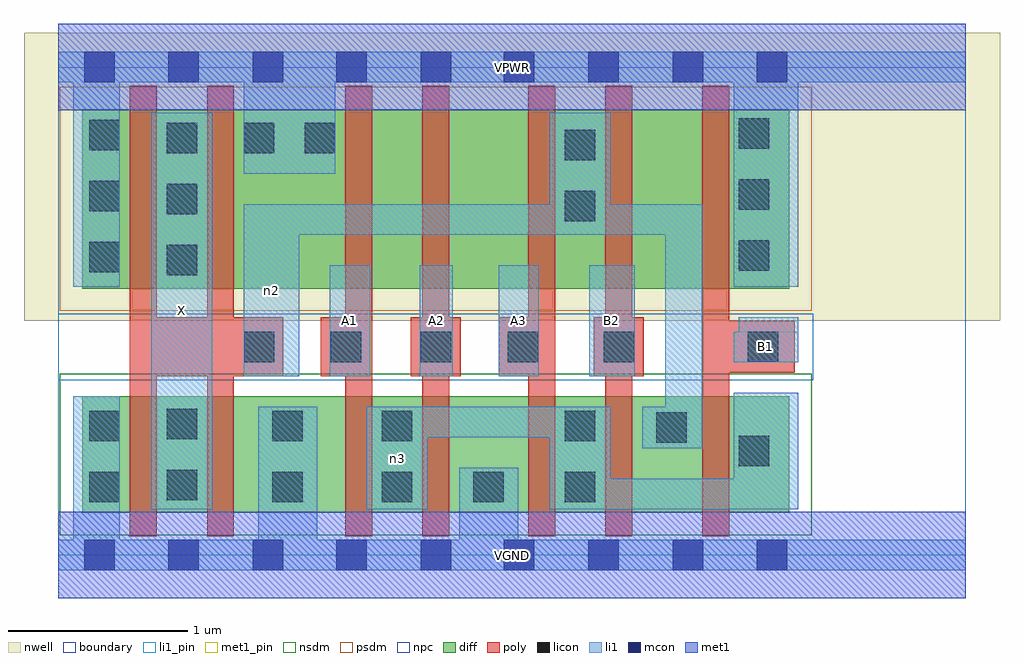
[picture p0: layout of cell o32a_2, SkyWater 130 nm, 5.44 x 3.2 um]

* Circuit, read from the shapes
.subckt o32a_2 A1 A2 A3 B1 B2 VGND VPWR X n2 n3
XM1 X n2 VGND VSUBS sky130_fd_pr__nfet_01v8 w=0.65 l=0.15 m=2
XM2 n3 A1 VGND VSUBS sky130_fd_pr__nfet_01v8 w=0.65 l=0.15
XM3 VGND A2 n3 VSUBS sky130_fd_pr__nfet_01v8 w=0.65 l=0.15
XM4 n3 A3 VGND VSUBS sky130_fd_pr__nfet_01v8 w=0.65 l=0.15
XM5 n2 B2 n3 VSUBS sky130_fd_pr__nfet_01v8 w=0.65 l=0.15
XM6 n3 B1 n2 VSUBS sky130_fd_pr__nfet_01v8 w=0.65 l=0.15
XM7 X n2 VPWR n1 sky130_fd_pr__pfet_01v8 w=1 l=0.15 m=2
XM8 n4 A1 VPWR n1 sky130_fd_pr__pfet_01v8 w=1 l=0.15
XM9 n5 A2 n4 n1 sky130_fd_pr__pfet_01v8 w=1 l=0.15
XM10 n2 A3 n5 n1 sky130_fd_pr__pfet_01v8 w=1 l=0.15
XM11 n6 B2 n2 n1 sky130_fd_pr__pfet_01v8 w=1 l=0.15
XM12 VPWR B1 n6 n1 sky130_fd_pr__pfet_01v8 w=1 l=0.15
.ends

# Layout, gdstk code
import gdstk
lib = gdstk.Library(unit=1e-6, precision=1e-09)
def R(c, l, rs):  # rectangles x0, y0, x1, y1
    for r in rs: c.add(gdstk.rectangle(r[:2], r[2:], *l))
def A(c, l, x, y, w, h, nx, ny, dx, dy):  # array of equal rectangles
    R(c, l, [(x+i*dx, y+j*dy, x+i*dx+w, y+j*dy+h) for i in range(nx) for j in range(ny)])
nwell = (64, 20)
diff = (65, 20)
poly = (66, 20)
licon = (66, 44)
li1_pin = (67, 16)
li1 = (67, 20)
mcon = (67, 44)
met1_pin = (68, 16)
met1 = (68, 20)
nsdm = (93, 44)
psdm = (94, 20)
npc = (95, 20)
boundary = (235, 4)

o32a_2 = lib.new_cell('o32a_2')
R(o32a_2, nwell, [(-0.19,1.305,5.25,2.91), (0,1.305,5.06,2.91)])
R(o32a_2, diff, [(0.135,0.235,4.075,0.885), (0.135,1.485,4.075,2.485)])
R(o32a_2, poly, [(0.4,0.105,0.55,2.615), (0.83,0.105,0.98,2.615), (1.6,0.105,1.75,2.615), (2.03,0.105,2.18,2.615), (2.62,0.105,2.77,2.615), (3.05,0.105,3.2,2.615), (3.59,0.105,3.74,2.615), (0.4,0.995,1.255,1.325), (1.465,0.995,1.75,1.325), (1.965,0.995,2.245,1.325), (2.455,0.995,2.77,1.325), (2.985,0.995,3.265,1.325), (3.59,1.015,4.105,1.305)])
A(o32a_2, licon, 1.805, 0.295, 0.17, 0.17, 3, 1, 0.51, 0)
A(o32a_2, licon, 0.605, 1.56, 0.17, 0.17, 1, 3, 0, 0.34)
A(o32a_2, licon, 0.175, 1.575, 0.17, 0.17, 1, 3, 0, 0.34)
A(o32a_2, licon, 3.795, 1.585, 0.17, 0.17, 1, 3, 0, 0.34)
R(o32a_2, licon, [(0.175,0.295,0.345,0.465), (1.195,0.295,1.365,0.465), (0.605,0.305,0.775,0.475), (3.795,0.495,3.965,0.665), (3.335,0.625,3.505,0.795), (0.175,0.635,0.345,0.805), (1.195,0.635,1.365,0.805), (1.805,0.635,1.975,0.805), (2.825,0.635,2.995,0.805), (0.605,0.645,0.775,0.815), (1.035,1.075,1.205,1.245), (1.52,1.075,1.69,1.245), (2.02,1.075,2.19,1.245), (2.505,1.075,2.675,1.245), (3.04,1.075,3.21,1.245), (3.845,1.075,4.015,1.245), (2.825,1.86,2.995,2.03), (2.825,2.2,2.995,2.37), (1.035,2.24,1.205,2.41), (1.375,2.24,1.545,2.41)])
R(o32a_2, li1_pin, [(0.52,0.255,0.86,2.465), (1.515,0.995,1.74,1.615), (2.015,0.995,2.2,1.615), (2.455,0.995,2.68,1.615), (2.96,0.995,3.215,1.615), (3.765,1.075,4.125,1.245)])
R(o32a_2, li1, [(0,-0.085,5.06,0.085), (0.085,-0.085,0.345,0.885), (1.115,-0.085,1.445,0.825), (2.235,-0.085,2.565,0.485), (0.52,0.255,0.86,2.465), (1.72,0.255,2.06,0.825), (2.74,0.255,3.08,0.825), (2.74,0.255,4.125,0.425), (3.765,0.255,4.125,0.905), (3.255,0.595,3.59,0.825), (3.385,0.595,3.59,1.955), (1.72,0.655,3.08,0.825), (1.035,0.995,1.345,1.955), (1.515,0.995,1.74,1.615), (2.015,0.995,2.2,1.615), (2.455,0.995,2.68,1.615), (2.96,0.995,3.215,1.615), (3.765,1.075,4.125,1.245), (3.795,1.075,4.125,1.325), (0.085,1.495,0.345,2.805), (3.765,1.495,4.125,2.805), (1.035,1.785,3.59,1.955), (2.74,1.785,3.08,2.465), (1.035,2.125,1.545,2.805), (0,2.635,5.06,2.805)])
A(o32a_2, mcon, 0.145, -0.085, 0.17, 0.17, 3, 2, 0.47, 2.72)
A(o32a_2, mcon, 2.485, -0.085, 0.17, 0.17, 4, 2, 0.47, 2.72)
R(o32a_2, mcon, [(1.55,-0.085,1.72,0.085), (2.02,-0.085,2.19,0.085), (1.55,2.635,1.72,2.805), (2.02,2.635,2.19,2.805)])
R(o32a_2, met1_pin, [(0,-0.24,5.06,0.24), (0,2.48,5.06,2.96)])
R(o32a_2, met1, [(0,-0.24,5.06,0.24), (0,2.48,5.06,2.96)])
R(o32a_2, nsdm, [(0.01,0.11,4.2,1.01)])
R(o32a_2, psdm, [(0.01,1.36,4.2,2.61)])
R(o32a_2, npc, [(0,0.975,4.21,1.345)])
R(o32a_2, boundary, [(0,0,5.06,2.72)])
o32a_2.add(gdstk.Label('A1', (1.627,1.305), layer=67, texttype=5))
o32a_2.add(gdstk.Label('A2', (2.107,1.305), layer=67, texttype=5))
o32a_2.add(gdstk.Label('A3', (2.567,1.305), layer=67, texttype=5))
o32a_2.add(gdstk.Label('B1', (3.945,1.16), layer=67, texttype=5))
o32a_2.add(gdstk.Label('B2', (3.087,1.305), layer=67, texttype=5))
o32a_2.add(gdstk.Label('X', (0.69,1.36), layer=67, texttype=5))
o32a_2.add(gdstk.Label('n3', (1.89,0.54), layer=67, texttype=5))
o32a_2.add(gdstk.Label('n2', (1.19,1.475), layer=67, texttype=5))
o32a_2.add(gdstk.Label('VPWR', (2.53,2.72), layer=68, texttype=5))
o32a_2.add(gdstk.Label('VGND', (2.53,0), layer=68, texttype=5))
o32a_2.add(gdstk.Label('A1', (1.627,1.305), layer=67, texttype=16))
o32a_2.add(gdstk.Label('A2', (2.107,1.305), layer=67, texttype=16))
o32a_2.add(gdstk.Label('A3', (2.567,1.305), layer=67, texttype=16))
o32a_2.add(gdstk.Label('B1', (3.945,1.16), layer=67, texttype=16))
o32a_2.add(gdstk.Label('B2', (3.087,1.305), layer=67, texttype=16))
o32a_2.add(gdstk.Label('X', (0.69,1.36), layer=67, texttype=16))
o32a_2.add(gdstk.Label('VPWR', (2.53,2.72), layer=68, texttype=16))
o32a_2.add(gdstk.Label('VGND', (2.53,0), layer=68, texttype=16))

lib.write_gds('o32a_2.gds')
